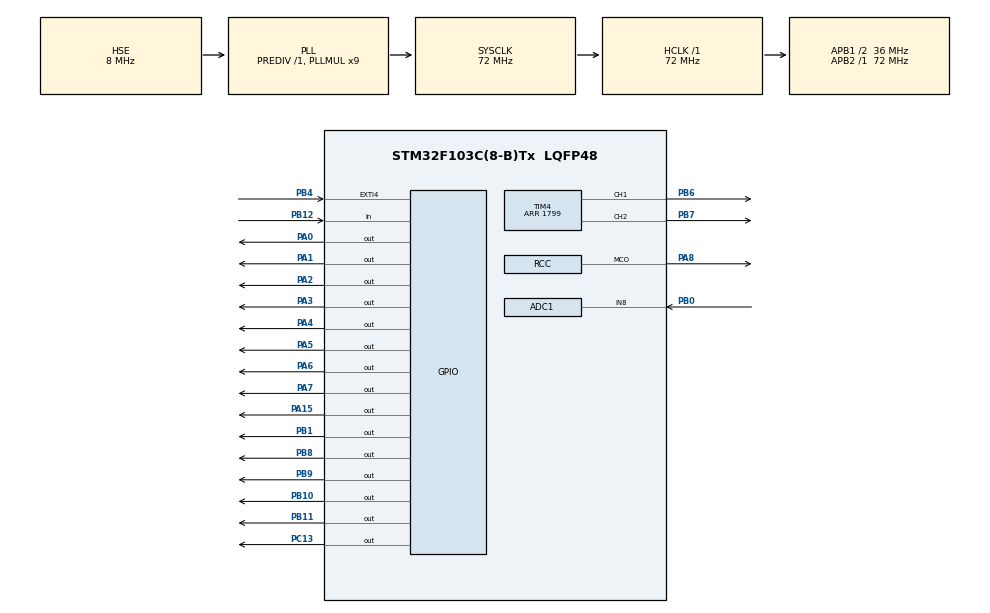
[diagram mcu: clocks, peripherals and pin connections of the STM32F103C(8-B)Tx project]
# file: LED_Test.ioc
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ADC1.Channel-0\#ChannelRegularConversion=ADC_CHANNEL_8
ADC1.NbrOfConversionFlag=1
ADC1.Rank-0\#ChannelRegularConversion=1
ADC1.SamplingTime-0\#ChannelRegularConversion=ADC_SAMPLETIME_1CYCLE_5
ADC1.master=1
Mcu.Family=STM32F1
Mcu.Name=STM32F103C(8-B)Tx
Mcu.Package=LQFP48
NVIC.ADC1_2_IRQn=true\:0\:0\:false\:false\:true\:true\:true\:true
NVIC.EXTI4_IRQn=true\:0\:0\:false\:false\:true\:true\:true\:true
NVIC.PriorityGroup=NVIC_PRIORITYGROUP_4
NVIC.TIM1_UP_IRQn=true\:0\:0\:false\:false\:true\:true\:true\:true
NVIC.TIM2_IRQn=true\:0\:0\:true\:false\:true\:true\:true\:true
NVIC.TIM4_IRQn=true\:0\:0\:true\:false\:true\:true\:true\:true
PA0-WKUP.Signal=GPIO_Output
PA1.Signal=GPIO_Output
PA13.Mode=Serial_Wire
PA13.Signal=SYS_JTMS-SWDIO
PA14.Mode=Serial_Wire
PA14.Signal=SYS_JTCK-SWCLK
PA15.Signal=GPIO_Output
PA2.Signal=GPIO_Output
PA3.Signal=GPIO_Output
PA4.Signal=GPIO_Output
PA5.Signal=GPIO_Output
PA6.Signal=GPIO_Output
PA7.Signal=GPIO_Output
PA8.Mode=Clock-out
PA8.Signal=RCC_MCO
PB0.Signal=ADCx_IN8
PB1.Signal=GPIO_Output
PB10.Signal=GPIO_Output
PB11.Signal=GPIO_Output
PB12.Signal=GPIO_Input
PB4.GPIO_ModeDefaultEXTI=GPIO_MODE_IT_FALLING
PB4.Signal=GPXTI4
PB6.Signal=S_TIM4_CH1
PB7.Signal=S_TIM4_CH2
PB8.Signal=GPIO_Output
PB9.Signal=GPIO_Output
PC13-TAMPER-RTC.Signal=GPIO_Output
PD0-OSC_IN.Mode=HSE-External-Oscillator
PD0-OSC_IN.Signal=RCC_OSC_IN
PD1-OSC_OUT.Mode=HSE-External-Oscillator
PD1-OSC_OUT.Signal=RCC_OSC_OUT
ProjectManager.HeapSize=0x200
ProjectManager.StackSize=0x400
ProjectManager.TargetToolchain=MDK-ARM V5.32
RCC.ADCPresc=RCC_ADCPCLK2_DIV6
RCC.AHBFreq_Value=72000000
RCC.APB1CLKDivider=RCC_HCLK_DIV2
RCC.APB1Freq_Value=36000000
RCC.APB1TimFreq_Value=72000000
RCC.APB2Freq_Value=72000000
RCC.APB2TimFreq_Value=72000000
RCC.HCLKFreq_Value=72000000
RCC.PLLMUL=RCC_PLL_MUL9
RCC.PLLSourceVirtual=RCC_PLLSOURCE_HSE
RCC.RCC_MCOSource=RCC_MCO1SOURCE_HSE
RCC.SYSCLKFreq_VALUE=72000000
RCC.SYSCLKSource=RCC_SYSCLKSOURCE_PLLCLK
RCC.USBFreq_Value=72000000
SH.ADCx_IN8.0=ADC1_IN8,IN8
SH.S_TIM4_CH1.0=TIM4_CH1,PWM Generation1 CH1
SH.S_TIM4_CH2.0=TIM4_CH2,PWM Generation2 CH2
TIM1.Period=999
TIM1.Prescaler=17999
TIM2.AutoReloadPreload=TIM_AUTORELOAD_PRELOAD_ENABLE
TIM2.Channel-Output\ Compare1\ No\ Output=TIM_CHANNEL_1
TIM2.OC1Preload=ENABLE
TIM2.Period=9
TIM2.Prescaler=7199
TIM3.Prescaler=71
TIM4.AutoReloadPreload=TIM_AUTORELOAD_PRELOAD_DISABLE
TIM4.Channel-PWM\ Generation1\ CH1=TIM_CHANNEL_1
TIM4.Channel-PWM\ Generation2\ CH2=TIM_CHANNEL_2
TIM4.OC1Preload_PWM=ENABLE
TIM4.OC2Preload_PWM=ENABLE
TIM4.OCFastMode_PWM-PWM\ Generation1\ CH1=TIM_OCFAST_ENABLE
TIM4.OCFastMode_PWM-PWM\ Generation2\ CH2=TIM_OCFAST_ENABLE
TIM4.OCPolarity_2=TIM_OCPOLARITY_LOW
TIM4.Period=1799
TIM4.Pulse-PWM\ Generation1\ CH1=900
TIM4.Pulse-PWM\ Generation2\ CH2=900
VP_TIM1_VS_ClockSourceINT.Mode=Internal
VP_TIM2_VS_ClockSourceINT.Mode=Internal
VP_TIM2_VS_no_output1.Mode=Output Compare1 No Output
VP_TIM3_VS_ClockSourceINT.Mode=Internal
board=custom

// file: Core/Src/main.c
/* USER CODE BEGIN Header */
/**
  ******************************************************************************
  * @file           : main.c
  * @brief          : Main program body
  ******************************************************************************
  * @attention
  *
  * Copyright (c) 2024 STMicroelectronics.
  * All rights reserved.
  *
  * This software is licensed under terms that can be found in the LICENSE file
  * in the root directory of this software component.
  * If no LICENSE file comes with this software, it is provided AS-IS.
  *
  ******************************************************************************
  */
/* USER CODE END Header */
#include "main.h"
#include "adc.h"
#include "tim.h"
#include "gpio.h"

/* USER CODE BEGIN Includes */
#include "OLED.h"
#include "buzzer.h"
#include "pwm.h"
#include "stdio.h"
/* USER CODE END Includes */

/* USER CODE BEGIN PD */
#define LED1_GPIO_Port GPIOA
#define LED1_Pin GPIO_PIN_0

#define LED2_GPIO_Port GPIOA
#define LED2_Pin GPIO_PIN_1

#define LED3_GPIO_Port GPIOA
#define LED3_Pin GPIO_PIN_2

#define LED4_GPIO_Port GPIOA
#define LED4_Pin GPIO_PIN_3

#define LED5_GPIO_Port GPIOA
#define LED5_Pin GPIO_PIN_4

#define LED6_GPIO_Port GPIOA
#define LED6_Pin GPIO_PIN_5

#define LED7_GPIO_Port GPIOA
#define LED7_Pin GPIO_PIN_6

#define LED8_GPIO_Port GPIOB
#define LED8_Pin GPIO_PIN_2

#define LED9_GPIO_Port GPIOB
#define LED9_Pin GPIO_PIN_10

#define LED10_GPIO_Port GPIOB
#define LED10_Pin GPIO_PIN_11	//LED initialization
/* USER CODE END PD */

/* USER CODE BEGIN PV */
//不敢动但是也没用到
uint32_t HighCounts = 0;
uint32_t LowCounts  = 0;
uint8_t  IsHigh     = 0;//定时器中断标志位
uint32_t Counter 		= 0;
uint32_t counter1   = 0;
//蜂鸣器输出配置
// 设定高电平和低电平持续时间（单位：毫秒）
uint32_t high_time_ms = 500; // 高电平持续时间，单位为毫秒
uint32_t low_time_ms  = 500; // 低电平持续时间，单位为毫秒
//测距用
volatile uint32_t elapsed_time = 0; // 用于存储经过的时间
float timeInterval = 0;
uint16_t velocity = 340;
static float dst = 0;
static float dst0 = 0;
//超时计数器
uint32_t i = 0;
uint8_t flag=0;
uint8_t flag_led = 0;
uint8_t n = 0;
uint8_t flag_NoSig = 1;
/* 脉冲计数变量 */
volatile uint32_t pulse_count = 0;    // 已经输出的脉冲计数
volatile uint32_t pulse_target = 0;   // 需要输出的脉冲总数
uint16_t temp;
/* USER CODE END PV */

void SystemClock_Config(void);
/* USER CODE BEGIN PFP */
void delay_ms(uint32_t ms) {
    HAL_Delay(ms);
}
//GPIO Pin initialization
void GPIO_Init(void) {
    __HAL_RCC_GPIOA_CLK_ENABLE();

    GPIO_InitTypeDef GPIO_InitStruct = {0};

    GPIO_InitStruct.Pin = LED1_Pin | LED2_Pin | LED3_Pin | LED4_Pin	| LED5_Pin | LED6_Pin	|	LED7_Pin | LED8_Pin | LED9_Pin | LED10_Pin ;
    GPIO_InitStruct.Mode = GPIO_MODE_OUTPUT_PP;
    GPIO_InitStruct.Pull = GPIO_NOPULL;
    GPIO_InitStruct.Speed = GPIO_SPEED_FREQ_LOW;
		HAL_GPIO_Init(LED1_GPIO_Port, &GPIO_InitStruct);
		HAL_GPIO_Init(LED2_GPIO_Port, &GPIO_InitStruct);
		HAL_GPIO_Init(LED3_GPIO_Port, &GPIO_InitStruct);
		HAL_GPIO_Init(LED4_GPIO_Port, &GPIO_InitStruct);
		HAL_GPIO_Init(LED5_GPIO_Port, &GPIO_InitStruct);
		HAL_GPIO_Init(LED6_GPIO_Port, &GPIO_InitStruct);
		HAL_GPIO_Init(LED7_GPIO_Port, &GPIO_InitStruct);
		HAL_GPIO_Init(LED8_GPIO_Port, &GPIO_InitStruct);
		HAL_GPIO_Init(LED9_GPIO_Port, &GPIO_InitStruct);
		HAL_GPIO_Init(LED10_GPIO_Port, &GPIO_InitStruct);

}

//Light LEDs
void light_up_leds(int num_leds) {
    if (num_leds >= 1) HAL_GPIO_WritePin(LED1_GPIO_Port, LED1_Pin, GPIO_PIN_SET);
    if (num_leds >= 2) HAL_GPIO_WritePin(LED2_GPIO_Port, LED2_Pin, GPIO_PIN_SET);
    if (num_leds >= 3) HAL_GPIO_WritePin(LED3_GPIO_Port, LED3_Pin, GPIO_PIN_SET);
    if (num_leds >= 4) HAL_GPIO_WritePin(LED4_GPIO_Port, LED4_Pin, GPIO_PIN_SET);
    if (num_leds >= 5) HAL_GPIO_WritePin(LED5_GPIO_Port, LED5_Pin, GPIO_PIN_SET);
		if (num_leds >= 6) HAL_GPIO_WritePin(LED6_GPIO_Port, LED6_Pin, GPIO_PIN_SET);
		if (num_leds >= 7) HAL_GPIO_WritePin(LED7_GPIO_Port, LED7_Pin, GPIO_PIN_SET);
		if (num_leds >= 8) HAL_GPIO_WritePin(LED8_GPIO_Port, LED8_Pin, GPIO_PIN_SET);
		if (num_leds >= 9) HAL_GPIO_WritePin(LED9_GPIO_Port, LED9_Pin, GPIO_PIN_SET);
		if (num_leds >= 10) HAL_GPIO_WritePin(LED10_GPIO_Port, LED10_Pin, GPIO_PIN_SET);
}

//Turn off LEDs
void turn_off_all_leds(void) {
    HAL_GPIO_WritePin(LED1_GPIO_Port, LED1_Pin, GPIO_PIN_RESET);
    HAL_GPIO_WritePin(LED2_GPIO_Port, LED2_Pin, GPIO_PIN_RESET);
    HAL_GPIO_WritePin(LED3_GPIO_Port, LED3_Pin, GPIO_PIN_RESET);
    HAL_GPIO_WritePin(LED4_GPIO_Port, LED4_Pin, GPIO_PIN_RESET);
		HAL_GPIO_WritePin(LED5_GPIO_Port, LED5_Pin, GPIO_PIN_RESET);
		HAL_GPIO_WritePin(LED6_GPIO_Port, LED6_Pin, GPIO_PIN_RESET);
		HAL_GPIO_WritePin(LED7_GPIO_Port, LED7_Pin, GPIO_PIN_RESET);
		HAL_GPIO_WritePin(LED8_GPIO_Port, LED8_Pin, GPIO_PIN_RESET);
		HAL_GPIO_WritePin(LED9_GPIO_Port, LED9_Pin, GPIO_PIN_RESET);
		HAL_GPIO_WritePin(LED10_GPIO_Port, LED10_Pin, GPIO_PIN_RESET);
}

// 延时依次点亮所有LED
void light_up_leds_one_by_one(void) {
    // 从左到右依次点亮LED，延迟200ms作为动态效果
    HAL_GPIO_WritePin(LED1_GPIO_Port, LED1_Pin, GPIO_PIN_SET);
    HAL_GPIO_WritePin(LED2_GPIO_Port, LED2_Pin, GPIO_PIN_SET);
    HAL_GPIO_WritePin(LED3_GPIO_Port, LED3_Pin, GPIO_PIN_SET);
    HAL_GPIO_WritePin(LED4_GPIO_Port, LED4_Pin, GPIO_PIN_SET);
		HAL_GPIO_WritePin(LED5_GPIO_Port, LED5_Pin, GPIO_PIN_SET);
		HAL_GPIO_WritePin(LED6_GPIO_Port, LED6_Pin, GPIO_PIN_SET);
		HAL_GPIO_WritePin(LED7_GPIO_Port, LED7_Pin, GPIO_PIN_SET);
		HAL_GPIO_WritePin(LED8_GPIO_Port, LED8_Pin, GPIO_PIN_SET);
		HAL_GPIO_WritePin(LED9_GPIO_Port, LED9_Pin, GPIO_PIN_SET);
		HAL_GPIO_WritePin(LED10_GPIO_Port, LED10_Pin, GPIO_PIN_SET);
}

//Blink LEDs
void blink_all_leds(uint32_t frequency) {
    // 4Hz频率闪烁，闪烁一次周期为250ms
    uint32_t period = 1000 / frequency / 2;  // 半周期闪烁时间

    while (1) {
			HAL_GPIO_TogglePin(GPIOC,GPIO_PIN_13);
      turn_off_all_leds();  // 全部LED熄灭
			HAL_Delay(period);    // 延迟半个周期

      light_up_leds(10);     // 全部LED点亮（假设有4个LED）
			HAL_Delay(period);    // 延迟半个周期
    }
}

//控制逻辑
void control_leds(uint8_t n) {
    if (n == 0) {
        // 延时依次点亮LED
        light_up_leds_one_by_one();
    } else if (n >= 1 && n <= 9) {
        // 点亮第1到第n个LED
        turn_off_all_leds();  // 先熄灭所有LED
        light_up_leds(n);     // 点亮指定数量的LED
    } else if (n == 10) {
        light_up_leds(n);
    }
}

/* USER CODE END PFP */

/* USER CODE BEGIN 0 */
void CalculateCounts(void)
{
    // 定时器中断周期，单位为毫秒
    uint32_t timer_period_ms = 1;

    // 计算高电平和低电平对应的计数值
    HighCounts = high_time_ms / timer_period_ms;
    LowCounts  = low_time_ms / timer_period_ms;

    // 确保计数值不为零
    if (HighCounts == 0)
        HighCounts = 1;
    if (LowCounts == 0)
        LowCounts = 1;
}

// 开始计时函数
void Start_Timer_Measurement(void)
{

  // 停止定时器以确保计数器正确重置
  HAL_TIM_IC_Stop_IT(&htim3, TIM_CHANNEL_1);

  // 重置计数器
  __HAL_TIM_SET_COUNTER(&htim3, 0);

  // 清除输入捕获标志位，避免伪触发
  __HAL_TIM_CLEAR_FLAG(&htim3, TIM_FLAG_CC1);

  // 启动定时器计数和输入捕获中断
  if (HAL_TIM_IC_Start_IT(&htim3, TIM_CHANNEL_1) != HAL_OK)
  {
    Error_Handler();
  }
}

void HAL_GPIO_EXTI_Callback(uint16_t GPIO_PIN)//没写完，IO外部中断用于定时
	//1107更新：可以读取寄存器值，需要进一步修改参数
{
	flag = 1;//只更新标志位
}
void HAL_TIM_PeriodElapsedCallback(TIM_HandleTypeDef *htim)	//定时器2/4溢出中断处理,未测试
																														//1107测试结果：正常
{
    if (htim->Instance == TIM2)
    {
        Counter++; // 增加计数器

        if (IsHigh)
        {
            if (Counter >= HighCounts)
            {
                // 高电平持续时间已到，切换为低电平
                HAL_GPIO_WritePin(GPIOA, GPIO_PIN_15, GPIO_PIN_RESET);
                IsHigh  = 0;
                Counter = 0; // 重置计数器
            }
        }
        else
        {
            if (Counter >= LowCounts)
            {
                // 低电平持续时间已到，切换为高电平
                HAL_GPIO_WritePin(GPIOA, GPIO_PIN_15, GPIO_PIN_SET);
                IsHigh  = 1;
                Counter = 0; // 重置计数器
            }
        }
    }
		if (htim ->Instance == TIM4)
    {
        pulse_count++;
        if (pulse_count >= pulse_target)
        {
            /* 达到目标脉冲数，停止PWM输出 */
            HAL_TIM_PWM_Stop(&htim4, TIM_CHANNEL_1);
            HAL_TIM_PWM_Stop(&htim4, TIM_CHANNEL_2);

            /* 禁用TIM4更新中断 */
            __HAL_TIM_DISABLE_IT(&htim4, TIM_IT_UPDATE);
        }
    }
		if (htim->Instance == TIM1)
		{
      if (flag_led == 0 && n == 10)
			{
				light_up_leds(10);
				flag_led = 1;
			}
			else if(flag_led == 1 && n == 10)
			{
				turn_off_all_leds();
				flag_led = 0;
			}
    }
}

/*void HAL_TIM_IC_CaptureCallback(TIM_HandleTypeDef *htim)
{
    if (htim->Instance == TIM3 && htim->Channel == HAL_TIM_ACTIVE_CHANNEL_1)
  {
    // 停止定时器计数（如果需要）
    HAL_TIM_IC_Stop_IT(&htim3, TIM_CHANNEL_1);

    // 读取捕获的计数值
    elapsed_time = HAL_TIM_ReadCapturedValue(htim, TIM_CHANNEL_1);

    // 这里的 elapsed_time 即为从开始计时到输入捕获事件之间的时间（单位：微秒）
		timeInterval=elapsed_time/1000;
    // 您可以在此处处理 elapsed_time，例如设置标志位或传递给主循环
  }
}
*/

void beep(uint8_t peaks)
{
		pulse_target = peaks;
		pulse_count = 0;
		HAL_TIM_PWM_Start(&htim4,TIM_CHANNEL_1);
		HAL_TIM_PWM_Start(&htim4,TIM_CHANNEL_2);
		__HAL_TIM_ENABLE_IT(&htim4, TIM_IT_UPDATE);
//		HAL_Delay(1);
//		HAL_TIM_PWM_Stop(&htim4,TIM_CHANNEL_1);
//		HAL_TIM_PWM_Stop(&htim4,TIM_CHANNEL_2);
}
void float_to_string_simple(float num, char *str, int precision)
{
    if (num < 0) { // 处理负数
        *str++ = '-';
        num = -num;
    }

    int int_part = (int)num; // 整数部分
    float frac_part = num - int_part; // 小数部分

    // 将整数部分转换为字符串
    sprintf(str, "%d", int_part);
    while (*str != '\0') str++; // 移动到字符串末尾

    // 添加小数点
    *str++ = '.';

    // 处理小数部分
    for (int i = 0; i < precision; i++) {
        frac_part *= 10;
        int digit = (int)frac_part;
        *str++ = '0' + digit;
        frac_part -= digit;
    }
    *str = '\0'; // 结束符
}
/* USER CODE END 0 */

int main(void)
{

  /* MCU Configuration--------------------------------------------------------*/

  /* Reset of all peripherals, Initializes the Flash interface and the Systick. */
  HAL_Init();

  /* USER CODE BEGIN Init */
	HAL_GPIO_WritePin(GPIOA, GPIO_PIN_15, GPIO_PIN_RESET);
  /* USER CODE END Init */

  /* Configure the system clock */
  SystemClock_Config();

  /* Initialize all configured peripherals */
  MX_GPIO_Init();
  MX_TIM4_Init();
  MX_TIM2_Init();
  MX_ADC1_Init();
  MX_TIM3_Init();
  MX_TIM1_Init();
  /* USER CODE BEGIN 2 */
	//light_up_leds(10);
	//HAL_NVIC_DisableIRQ(EXTI4_IRQn);
	n = 0;

	OLED_Init();
	HAL_ADCEx_Calibration_Start(&hadc1);
	//Buzzer_SetFrequency(40000);
	HAL_ADC_Start(&hadc1);
  uint16_t adcValue = HAL_ADC_GetValue(&hadc1);
	float temperature = (1.43-(float)adcValue * 3.3f / 4096.0f)/0.0043f -25.0f-70.0f;
            // 1.43V is the typical voltage at 25°C
            // 0.0043 V/°C is the slope
	//Buzzer_Beep(150);
	//Buzzer_Off();
	//float_to_string_simple(temperature,temp,2);
	OLED_Clear();
  //uint8_t n = 0;
		//control_leds(n);
	OLED_ShowString(1,1,"DST ");
	OLED_ShowString(2,1,"TMP ");
	OLED_ShowString(3,1,"SPD ");
	OLED_ShowNum(2,5,temperature,4);
	//OLED_ShowString(2,5,temp);
	OLED_ShowNum(3,5,velocity,3);
	high_time_ms=0;
	low_time_ms=400; //时钟要配置为72MHz
	CalculateCounts();
		HAL_TIM_Base_Start_IT(&htim1);
	__HAL_TIM_ENABLE_IT(&htim1, TIM_IT_UPDATE);
	pulse_target = 9;
  pulse_count = 0;
	HAL_TIM_Base_Start_IT(&htim2);
  /* USER CODE END 2 */

  /* Infinite loop */
  /* USER CODE BEGIN WHILE */
	i=0;
	//velocity = velocity / 10.0f;
	uint16_t j = 2;//暂时存储发波数
	counter1 = 0;
	temp=0;
	HAL_GPIO_WritePin(GPIOC,GPIO_PIN_13,GPIO_PIN_SET);
	//EXTI->FTSR |= 1<<4;
	//temp = EXTI->FTSR; //TODO :显示标志位值
	//OLED_ShowHexNum(4,5,temp,8);
	while (1)
  {
		//if(dst0-dst>=5){j++;}
		//else if(dst-dst0>=5){j--;}
		//else{}

		dst0=dst;
		OLED_ShowNum(4,1,j,3);
		//Buzzer_Beep(0);//1毫秒40个波形，考虑弃用该部分
		flag = 0;												//清中断标志位
		__HAL_TIM_SET_COUNTER(&htim3,0);//清计数器
		HAL_NVIC_DisableIRQ(EXTI4_IRQn);
		HAL_TIM_Base_Start(&htim3);
		beep(j);//发信号
		//OLED_ShowNum(4,1,i,2);
		//HAL_Delay(1);
		i=0;

		i = 0;
//		while(i<=59000)
//		{
//			i++;//等待余震
//			//temp++;
//		}
//		//__HAL_TIM_SET_COUNTER(&htim3,0);
		timeInterval = __HAL_TIM_GET_COUNTER(&htim3);
		HAL_NVIC_EnableIRQ(EXTI4_IRQn);
		timeInterval = __HAL_TIM_GET_COUNTER(&htim3);

		i = 0;
		if(HAL_TIM_Base_GetState(&htim3) != HAL_TIM_STATE_BUSY)
		{
			OLED_Clear();
			OLED_ShowString(1,1,"ERROR!");
			Error_Handler();
		}
//=======
//		//HAL_NVIC_DisableIRQ(EXTI4_IRQn);//先关闭中断，防止错误触发
//		//if(dst0-dst>=5){j++;}
//		//else if(dst-dst0>=5){j--;}
//		//else{}
//		j++;
//		dst0=dst;
//		OLED_ShowNum(4,1,j,2);
//		//HAL_NVIC_DisableIRQ(EXTI4_IRQn);//先关闭中断，防止错误触发
//		//Buzzer_Beep(0);//1毫秒40个波形，考虑弃用该部分
//		flag = 0;												//清中断标志位
//		__HAL_TIM_SET_COUNTER(&htim3,0);
//		beep(6);//发信号
//		//OLED_ShowNum(4,1,i,2);
//		//HAL_Delay(1);
//		i=0;
//		HAL_TIM_Base_Start(&htim3);
//		__HAL_TIM_SET_COUNTER(&htim3,0);
//		while(i<=60330)
//		{
//			i++;//等待余震
//			temp++;
//		}
//		i = 0;
//		if(HAL_TIM_Base_GetState(&htim3) != HAL_TIM_STATE_BUSY)
//		{
//			OLED_Clear();
//			OLED_ShowString(1,1,"ERROR!");
//			Error_Handler();
//		}
		//flag = 0;
//>>>>>>> Stashed changes
		HAL_GPIO_WritePin(GPIOC,GPIO_PIN_13,GPIO_PIN_RESET);
		while(flag !=1 && i<720000)
		{
			i++;//等待10ms超时
			temp++;
		}
		i=0;
//		//HAL_GPIO_TogglePin(GPIOA,GPIO_PIN_7);
//    //现在（11/4）的问题是在初始化完成并且启动定时器后，HAL_TIM_Base_GetState仍然返回0
//		//下一步向老师询问为什么出现这样的问题
//		//已解决（11/7）
		if(flag == 0x01)
		{

			//temp = EXTI->FTSR; //TODO :显示标志位值
			//OLED_ShowHexNum(4,5,temp,4);
			timeInterval = __HAL_TIM_GET_COUNTER(&htim3);
			__HAL_TIM_SET_COUNTER(&htim3,0);
			timeInterval = timeInterval/1000.0f;
			//timeInterval = timeInterval/100;
			counter1++;
			OLED_ShowNum(4,5,counter1,3);
			//HAL_GPIO_WritePin(GPIOA,7,GPIO_PIN_RESET);
			dst=velocity*timeInterval / 20.0f;
			//OLED_Clear();
			high_time_ms=1;
			dst0=dst;
			if(dst<=40){n=10;j=4;}
				else if(40<dst&&dst<=45){n=9;j=8;dst = dst -1;}
				else if(45<dst&&dst<=50){n=8;j=8;dst = dst -1 ;}
				else if(50<dst&&dst<=55){n=7;j=16;dst = dst - 3;}
				else if(55<dst&&dst<=60){n=6;j=16;dst = dst - 3;}
				else if(60<dst&&dst<=70){n=5;j=16;dst = dst - 3;}
				else if(70<dst&&dst<=80){n=4;j=32;dst = dst - 3;}
				else if(80<dst&&dst<=90){n=3;j=32;dst = dst - 3;}
				else if(90<dst&&dst<=100){n=2;j=64;dst = dst - 3;}
				else{n=1; high_time_ms = 0;}
				if(dst > 100 ){ dst = dst -10;}
				control_leds(n);
				OLED_ShowString(1,1,"                ");//清行
				OLED_ShowString(1,1,"DST ");
				//OLED_ShowString(2,1,"TMP ");
				//OLED_ShowString(3,1,"SPD ");
				OLED_ShowFloat(2,5,temperature,2);
				//OLED_ShowString(2,5,temp);
				OLED_ShowNum(3,5,velocity,3);
				OLED_ShowFloat(1,5,dst,5);
				control_leds(n);
				low_time_ms=1000/n-1; //时钟要配置为72MHz
				if(n == 10) {low_time_ms = 1;}
				CalculateCounts();
				HAL_TIM_Base_Stop(&htim3);
				__HAL_TIM_SET_COUNTER(&htim3,0);
				flag = 0;		//中断触发后清标志位
				flag_NoSig = 0;
			}
		else if (flag != 0x01)
		{
				OLED_ShowString(1,1,"                ");
				OLED_ShowString(1,4,"No Signal!");
				HAL_TIM_Base_Stop(&htim3);
				__HAL_TIM_SET_COUNTER(&htim3,0);
			  high_time_ms = 0;
				CalculateCounts();
				flag_NoSig = 1;
		}

		HAL_GPIO_WritePin(GPIOC,GPIO_PIN_13,GPIO_PIN_SET);

		//HAL_GPIO_WritePin(GPIOC,GPIO_PIN_13,GPIO_PIN_RESET);
		adcValue = HAL_ADC_GetValue(&hadc1);
		temperature = (1.43-(float)adcValue * 3.3f / 4096.0f)/0.0043f -25.0f;
		OLED_ShowNum(2,5,temperature,2);
		if(temperature>5 && temperature<25){ velocity = 331.4 + 0.6 *temperature;}
		//OLED_ShowNum(4,5,adcValue,5);
		if(flag_NoSig == 1) {j=j*2;}
		else if(flag_NoSig == 0) {j = j;}
		if(j > 512 ) {j = 2;}
		HAL_Delay(250);
    /* USER CODE END WHILE */

  }
}

void SystemClock_Config(void)
{
  RCC_OscInitTypeDef RCC_OscInitStruct = {0};
  RCC_ClkInitTypeDef RCC_ClkInitStruct = {0};
  RCC_PeriphCLKInitTypeDef PeriphClkInit = {0};

  /** Initializes the RCC Oscillators according to the specified parameters
  * in the RCC_OscInitTypeDef structure.
  */
  RCC_OscInitStruct.OscillatorType = RCC_OSCILLATORTYPE_HSE;
  RCC_OscInitStruct.HSEState = RCC_HSE_ON;
  RCC_OscInitStruct.HSEPredivValue = RCC_HSE_PREDIV_DIV1;
  RCC_OscInitStruct.HSIState = RCC_HSI_ON;
  RCC_OscInitStruct.PLL.PLLState = RCC_PLL_ON;
  RCC_OscInitStruct.PLL.PLLSource = RCC_PLLSOURCE_HSE;
  RCC_OscInitStruct.PLL.PLLMUL = RCC_PLL_MUL9;
  if (HAL_RCC_OscConfig(&RCC_OscInitStruct) != HAL_OK)
  {
    Error_Handler();
  }

  /** Initializes the CPU, AHB and APB buses clocks
  */
  RCC_ClkInitStruct.ClockType = RCC_CLOCKTYPE_HCLK|RCC_CLOCKTYPE_SYSCLK
                              |RCC_CLOCKTYPE_PCLK1|RCC_CLOCKTYPE_PCLK2;
  RCC_ClkInitStruct.SYSCLKSource = RCC_SYSCLKSOURCE_PLLCLK;
  RCC_ClkInitStruct.AHBCLKDivider = RCC_SYSCLK_DIV1;
  RCC_ClkInitStruct.APB1CLKDivider = RCC_HCLK_DIV2;
  RCC_ClkInitStruct.APB2CLKDivider = RCC_HCLK_DIV1;

  if (HAL_RCC_ClockConfig(&RCC_ClkInitStruct, FLASH_LATENCY_2) != HAL_OK)
  {
    Error_Handler();
  }
  PeriphClkInit.PeriphClockSelection = RCC_PERIPHCLK_ADC;
  PeriphClkInit.AdcClockSelection = RCC_ADCPCLK2_DIV6;
  if (HAL_RCCEx_PeriphCLKConfig(&PeriphClkInit) != HAL_OK)
  {
    Error_Handler();
  }
  HAL_RCC_MCOConfig(RCC_MCO, RCC_MCO1SOURCE_HSE, RCC_MCODIV_1);
}

void Error_Handler(void)
{
  /* USER CODE BEGIN Error_Handler_Debug */
  /* User can add his own implementation to report the HAL error return state */
  __disable_irq();
  while (1)
  {
		HAL_GPIO_WritePin(GPIOC,GPIO_PIN_2,GPIO_PIN_RESET);
		HAL_Delay(1000);
    /* USER CODE END WHILE */
		HAL_GPIO_WritePin(GPIOC,GPIO_PIN_2,GPIO_PIN_SET);
  }
  /* USER CODE END Error_Handler_Debug */
}
